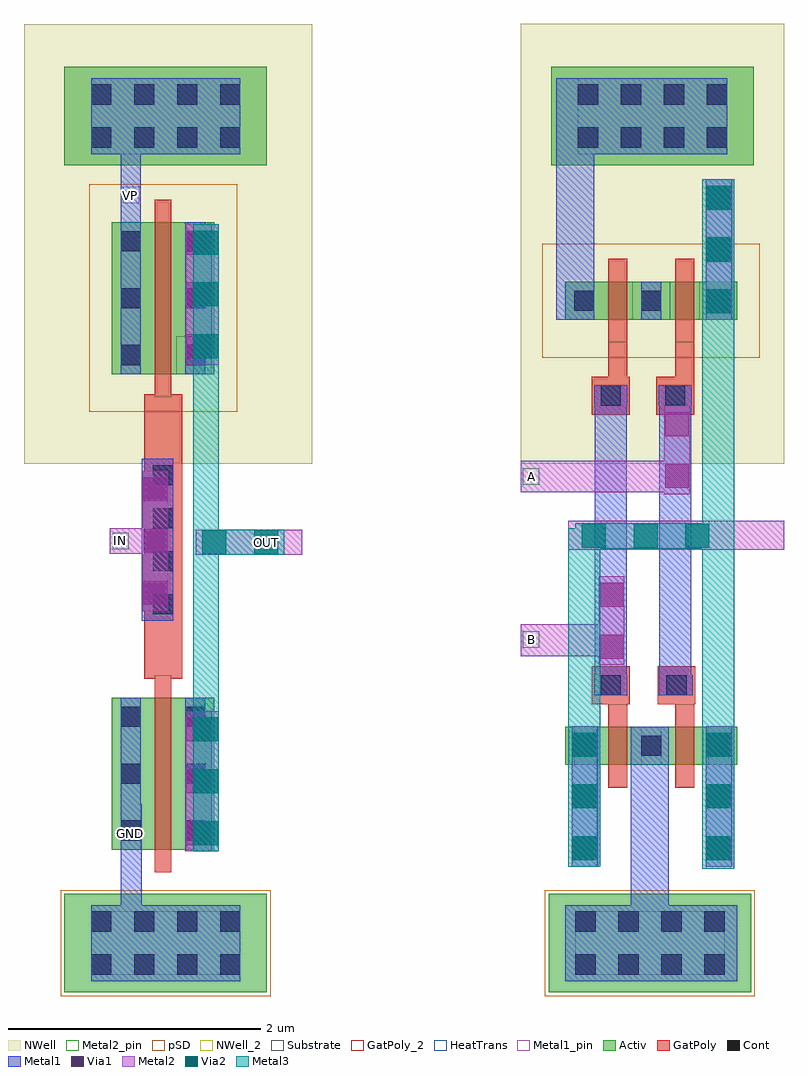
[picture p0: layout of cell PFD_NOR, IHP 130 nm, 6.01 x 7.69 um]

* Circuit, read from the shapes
.subckt PFD_NOR A B GND IN OUT VP
XM1 OUT IN GND GND sg13_lv_nmos w=1.2u l=0.13u
XM2 GND B n1 GND sg13_lv_nmos w=0.3u l=0.15u
XM3 n1 A GND GND sg13_lv_nmos w=0.3u l=0.15u
XM4 OUT IN VP VP sg13_lv_pmos w=1.2u l=0.13u
XM5 n2 B ntap1_13/well ntap1_13/well sg13_lv_pmos w=0.3u l=0.15u
XM6 n1 A n2 ntap1_13/well sg13_lv_pmos w=0.3u l=0.15u
.ends

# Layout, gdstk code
import gdstk
lib = gdstk.Library(unit=1e-6, precision=1e-09)
def R(c, l, rs):  # rectangles x0, y0, x1, y1
    for r in rs: c.add(gdstk.rectangle(r[:2], r[2:], *l))
def A(c, l, x, y, w, h, nx, ny, dx, dy):  # array of equal rectangles
    R(c, l, [(x+i*dx, y+j*dy, x+i*dx+w, y+j*dy+h) for i in range(nx) for j in range(ny)])
Activ = (1, 0)
GatPoly = (5, 0)
GatPoly_2 = (5, 2)
Cont = (6, 0)
Metal1 = (8, 0)
Metal1_pin = (8, 2)
Metal2 = (10, 0)
Metal2_pin = (10, 2)
pSD = (14, 0)
Via1 = (19, 0)
Via2 = (29, 0)
Metal3 = (30, 0)
NWell = (31, 0)
NWell_2 = (31, 2)
Substrate = (40, 0)
HeatTrans = (51, 0)

via = lib.new_cell('Via')
R(via, Metal2, [(-0.1,-0.555,0.1,0.555)])
A(via, Via2, -0.095, -0.505, 0.19, 0.19, 1, 3, 0, 0.41)
R(via, Metal3, [(-0.1,-0.555,0.1,0.555)])

via_1 = lib.new_cell('Via$1')
R(via_1, Metal1, [(-0.105,-0.555,0.105,0.555)])
R(via_1, Metal2, [(-0.1,-0.555,0.1,0.555)])
A(via_1, Via1, -0.095, -0.505, 0.19, 0.19, 1, 3, 0, 0.41)

via_2 = lib.new_cell('Via$2')
R(via_2, Metal2, [(-0.35,-0.1,0.35,0.1)])
R(via_2, Via2, [(-0.3,-0.095,-0.11,0.095), (0.11,-0.095,0.3,0.095)])
R(via_2, Metal3, [(-0.35,-0.1,0.35,0.1)])

ntap1 = lib.new_cell('ntap1')
R(ntap1, Activ, [(0,0,1.6,0.78)])
A(ntap1, Cont, 0.21, 0.14, 0.16, 0.16, 4, 2, 0.34, 0.34)
R(ntap1, Metal1, [(0.21,0.09,1.39,0.69)])
R(ntap1, Metal1_pin, [(0.21,0.09,1.39,0.69), (0.21,0.14,1.39,0.64)])
R(ntap1, NWell, [(-0.24,-0.24,1.84,1.02), (0,0,1.6,0.78)])
R(ntap1, NWell_2, [(0,0,1.6,0.78)])
ntap1.add(gdstk.Label('well', (0.8,0.01), layer=63, texttype=0))
ntap1.add(gdstk.Label('well', (0.8,0.01), layer=31, texttype=0))

ptap1 = lib.new_cell('ptap1')
R(ptap1, Activ, [(0,0,1.6,0.78)])
A(ptap1, Cont, 0.21, 0.14, 0.16, 0.16, 4, 2, 0.34, 0.34)
R(ptap1, Metal1, [(0.21,0.09,1.39,0.69), (0.21,0.14,1.39,0.64)])
R(ptap1, Metal1_pin, [(0.21,0.14,1.39,0.64)])
R(ptap1, pSD, [(-0.03,-0.03,1.63,0.81)])
R(ptap1, Substrate, [(0,0,1.6,0.78)])
ptap1.add(gdstk.Label('sub!', (0.8,0.01), layer=63, texttype=0))
ptap1.add(gdstk.Label('sub!', (0.8,0.01), layer=40, texttype=0))

nmos = lib.new_cell('nmos')
R(nmos, Activ, [(0,0,0.3,0.3), (0,0,0.81,1.2), (0.51,0,0.81,0.3)])
R(nmos, GatPoly, [(0.34,-0.18,0.47,1.38)])
R(nmos, GatPoly_2, [(0.34,-0.18,0.47,1.38)])
A(nmos, Cont, 0.07, 0.07, 0.16, 0.16, 1, 3, 0, 0.45)
A(nmos, Cont, 0.58, 0.07, 0.16, 0.16, 1, 3, 0, 0.45)
R(nmos, Metal1, [(0.07,0,0.23,1.2), (0.58,0,0.74,1.2)])
R(nmos, Metal1_pin, [(0.07,0,0.23,1.2), (0.58,0,0.74,1.2)])
R(nmos, HeatTrans, [(0.34,-0.18,0.47,1.38)])
nmos.add(gdstk.Label('nmos', (0.405,0.6), layer=63, texttype=0))
nmos.add(gdstk.Label('nmos', (0.405,0.6), layer=51, texttype=0))

pmos = lib.new_cell('pmos')
R(pmos, Activ, [(0,0,0.3,0.3), (0,0,0.81,1.2), (0.51,0,0.81,0.3)])
R(pmos, GatPoly, [(0.34,-0.18,0.47,1.38), (0.34,-0.18,0.47,1.38)])
A(pmos, Cont, 0.07, 0.07, 0.16, 0.16, 1, 3, 0, 0.45)
A(pmos, Cont, 0.58, 0.07, 0.16, 0.16, 1, 3, 0, 0.45)
R(pmos, Metal1, [(0.07,0,0.23,1.2), (0.07,0,0.23,1.2), (0.58,0,0.74,1.2), (0.58,0,0.74,1.2)])
R(pmos, pSD, [(-0.18,-0.3,0.99,1.5)])
R(pmos, NWell, [(-0.31,-0.31,1.12,1.51)])
R(pmos, Substrate, [(0.51,0,0.81,0.3)])
R(pmos, HeatTrans, [(0.34,-0.18,0.47,1.38)])
pmos.add(gdstk.Label('pmos', (0.405,0.6), layer=63, texttype=0))
pmos.add(gdstk.Label('pmos', (0.405,0.6), layer=51, texttype=0))

via_3 = lib.new_cell('Via$3')
R(via_3, GatPoly, [(-0.15,-0.66,0.15,0.66)])
A(via_3, Cont, -0.08, -0.59, 0.16, 0.16, 1, 4, 0, 0.34)
R(via_3, Metal1, [(-0.08,-0.64,0.08,0.64)])

pmos_2 = lib.new_cell('pmos$2')
R(pmos_2, Activ, [(0,0,0.3,0.3), (0,0,0.83,0.3), (0.53,0,0.83,0.3)])
R(pmos_2, GatPoly, [(0.34,-0.18,0.49,0.48), (0.34,-0.18,0.49,0.48)])
R(pmos_2, Cont, [(0.07,0.07,0.23,0.23), (0.6,0.07,0.76,0.23)])
R(pmos_2, Metal1, [(0.07,0,0.23,0.3), (0.07,0,0.23,0.3), (0.6,0,0.76,0.3), (0.6,0,0.76,0.3)])
R(pmos_2, pSD, [(-0.18,-0.3,1.01,0.6)])
R(pmos_2, NWell, [(-0.31,-0.31,1.14,0.61)])
R(pmos_2, Substrate, [(0.53,0,0.83,0.3)])
R(pmos_2, HeatTrans, [(0.34,-0.18,0.49,0.48)])
pmos_2.add(gdstk.Label('pmos', (0.415,0.15), layer=63, texttype=0))
pmos_2.add(gdstk.Label('pmos', (0.415,0.15), layer=51, texttype=0))

via_5 = lib.new_cell('Via$5')
R(via_5, GatPoly, [(-0.15,-0.15,0.15,0.15)])
R(via_5, Cont, [(-0.08,-0.08,0.08,0.08)])
R(via_5, Metal1, [(-0.13,-0.08,0.13,0.08)])

via_6 = lib.new_cell('Via$6')
R(via_6, Metal1, [(-0.105,-0.35,0.105,0.35)])
R(via_6, Metal2, [(-0.1,-0.35,0.1,0.35)])
R(via_6, Via1, [(-0.095,-0.3,0.095,-0.11), (-0.095,0.11,0.095,0.3)])

nmos_2 = lib.new_cell('nmos$2')
R(nmos_2, Activ, [(0,0,0.3,0.3), (0,0,0.83,0.3), (0.53,0,0.83,0.3)])
R(nmos_2, GatPoly, [(0.34,-0.18,0.49,0.48)])
R(nmos_2, GatPoly_2, [(0.34,-0.18,0.49,0.48)])
R(nmos_2, Cont, [(0.07,0.07,0.23,0.23), (0.6,0.07,0.76,0.23)])
R(nmos_2, Metal1, [(0.07,0,0.23,0.3), (0.6,0,0.76,0.3)])
R(nmos_2, Metal1_pin, [(0.07,0,0.23,0.3), (0.6,0,0.76,0.3)])
R(nmos_2, HeatTrans, [(0.34,-0.18,0.49,0.48)])
nmos_2.add(gdstk.Label('nmos', (0.415,0.15), layer=63, texttype=0))
nmos_2.add(gdstk.Label('nmos', (0.415,0.15), layer=51, texttype=0))

via_7 = lib.new_cell('Via$7')
R(via_7, Metal2, [(-0.555,-0.1,0.555,0.1)])
A(via_7, Via2, -0.505, -0.095, 0.19, 0.19, 3, 1, 0.41, 0)
R(via_7, Metal3, [(-0.555,-0.1,0.555,0.1)])

pfd_nor = lib.new_cell('PFD_NOR')
R(pfd_nor, GatPoly, [(-3.585,-2.855,-3.455,-2.655), (-3.67,-2.25,-3.37,-1.81), (-3.67,-0.49,-3.37,0), (0.53,0.13,0.68,0.41), (0,0.14,0.15,0.41)])
R(pfd_nor, Metal1, [(-0.34,-4.64,1.02,-4.04), (-3.855,-4.45,-3.69,-3.805), (-3.855,-3.805,-3.69,-3.24), (-3.69,-1.79,-3.67,-0.51), (-3.67,-1.79,-3.6,-0.51), (-3.855,0.96,-3.695,1.26), (-3.855,1.245,-3.695,2.235)])
R(pfd_nor, Metal1_pin, [(-3.84,-3.54,-3.71,-3.41), (-3.84,1.51,-3.71,1.64)])
R(pfd_nor, Metal2, [(-2.79,-1.27,-2.42,-1.07), (-3.94,-1.26,-3.6,-1.06), (-0.315,-1.23,1.39,-1)])
R(pfd_nor, Metal2_pin, [(-0.675,-2.005,-0.545,-1.875), (-2.765,-1.235,-2.635,-1.105), (-3.92,-1.225,-3.79,-1.095), (-0.675,-0.715,-0.545,-0.585)])
R(pfd_nor, Metal3, [(-3.28,-3.09,-3.08,-2.63), (-3.28,-2.7,-3.08,-0.24), (-3.28,-0.34,-3.08,0.76)])
R(pfd_nor, NWell, [(-4.62,-0.55,-2.34,0.655), (-0.69,-0.55,1.39,2.93), (-4.62,0.655,-2.565,2.925), (-2.565,0.655,-2.34,2.925)])
pfd_nor.add(gdstk.FlexPath([(-0.26,0.59),(-0.26,2.5)], 0.3, ends="flush", simple_path=True, layer=8, datatype=0))  # Metal1
pfd_nor.add(gdstk.FlexPath([(0.02,0.07),(0.02,-2.38)], 0.25, ends="flush", simple_path=True, layer=8, datatype=0))  # Metal1
pfd_nor.add(gdstk.FlexPath([(0.53,0.07),(0.53,-2.38)], 0.25, ends="flush", simple_path=True, layer=8, datatype=0))  # Metal1
pfd_nor.add(gdstk.FlexPath([(0.33,-2.63),(0.33,-4.04)], 0.3, ends="flush", simple_path=True, layer=8, datatype=0))  # Metal1
pfd_nor.add(gdstk.FlexPath([(0.64,-0.65),(-0.69,-0.65)], 0.25, ends="flush", simple_path=True, layer=10, datatype=0))  # Metal2
pfd_nor.add(gdstk.FlexPath([(0.125,-1.945),(-0.69,-1.945)], 0.25, ends="flush", simple_path=True, layer=10, datatype=0))  # Metal2
pfd_nor.add(gdstk.FlexPath([(-0.19,-3.735),(-0.19,-1.06)], 0.25, ends="flush", simple_path=True, layer=30, datatype=0))  # Metal3
pfd_nor.add(gdstk.FlexPath([(0.87,1.7),(0.87,-3.75)], 0.25, ends="flush", simple_path=True, layer=30, datatype=0))  # Metal3
pfd_nor.add(gdstk.Reference(via, (-3.18,-3.06)))
pfd_nor.add(gdstk.Reference(via_1, (-3.24,-3.06)))
pfd_nor.add(gdstk.Reference(via_1, (-3.58,-1.16)))
pfd_nor.add(gdstk.Reference(via_2, (-2.91,-1.17)))
pfd_nor.add(gdstk.Reference(via, (-3.18,0.79)))
pfd_nor.add(gdstk.Reference(via_1, (-3.24,0.79)))
pfd_nor.add(gdstk.Reference(ntap1, (-4.3,1.81)))
pfd_nor.add(gdstk.Reference(ptap1, (-4.3,-4.73)))
pfd_nor.add(gdstk.Reference(nmos, (-3.925,-3.6)))
pfd_nor.add(gdstk.Reference(pmos, (-3.925,0.16)))
pfd_nor.add(gdstk.Reference(via_3, (-3.52,-1.15)))
pfd_nor.add(gdstk.Reference(pmos_2, (-0.34,0.59)))
pfd_nor.add(gdstk.Reference(pmos_2, (0.19,0.59)))
pfd_nor.add(gdstk.Reference(ntap1, (-0.45,1.81)))
pfd_nor.add(gdstk.Reference(via_5, (0.02,-0.01)))
pfd_nor.add(gdstk.Reference(via_5, (0.53,-0.01)))
pfd_nor.add(gdstk.Reference(via_5, (0.02,-2.3)))
pfd_nor.add(gdstk.Reference(via_5, (0.54,-2.3)))
pfd_nor.add(gdstk.Reference(via_6, (0.025,-1.79)))
pfd_nor.add(gdstk.Reference(via_6, (0.545,-0.44)))
pfd_nor.add(gdstk.Reference(ptap1, (-0.47,-4.73)))
pfd_nor.add(gdstk.Reference(nmos_2, (-0.34,-2.93)))
pfd_nor.add(gdstk.Reference(nmos_2, (0.19,-2.93)))
pfd_nor.add(gdstk.Reference(via, (0.87,1.145)))
pfd_nor.add(gdstk.Reference(via_1, (0.875,1.145)))
pfd_nor.add(gdstk.Reference(via, (0.87,-3.18)))
pfd_nor.add(gdstk.Reference(via_1, (0.875,-3.18)))
pfd_nor.add(gdstk.Reference(via, (-0.19,-3.18)))
pfd_nor.add(gdstk.Reference(via_1, (-0.185,-3.18)))
pfd_nor.add(gdstk.Reference(via_7, (0.295,-1.12)))
pfd_nor.add(gdstk.Label('OUT', (-2.7,-1.17), layer=10, texttype=25))
pfd_nor.add(gdstk.Label('IN', (-3.86,-1.16), layer=10, texttype=25))
pfd_nor.add(gdstk.Label('A', (-0.61,-0.65), layer=10, texttype=25))
pfd_nor.add(gdstk.Label('B', (-0.61,-1.94), layer=10, texttype=25))
pfd_nor.add(gdstk.Label('GND', (-3.775,-3.47), layer=8, texttype=25))
pfd_nor.add(gdstk.Label('VP', (-3.775,1.57), layer=8, texttype=25))

lib.write_gds('PFD_NOR.gds')
